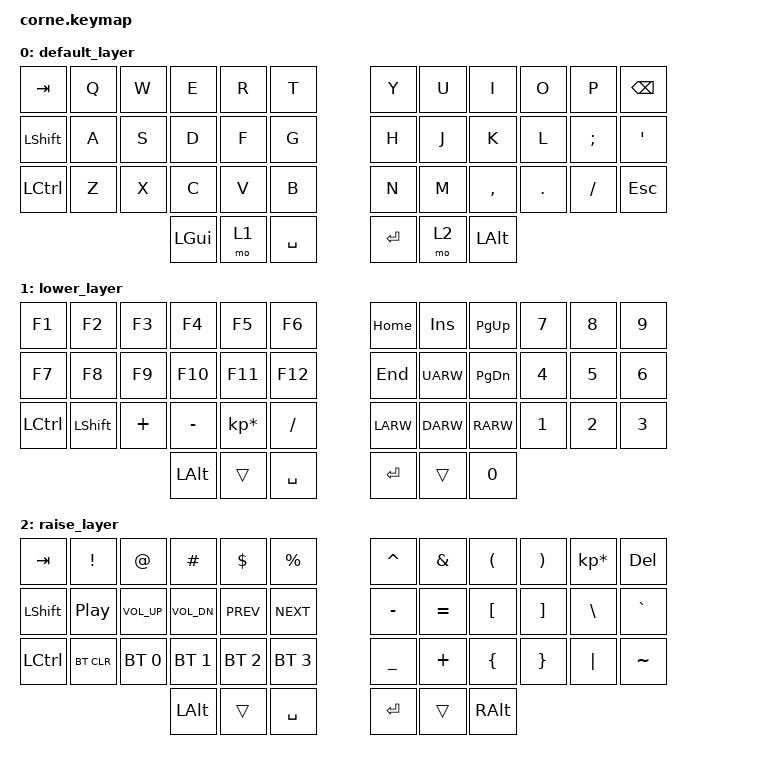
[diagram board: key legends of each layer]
/*
 * Copyright (c) 2020 The ZMK Contributors
 *
 * SPDX-License-Identifier: MIT
 */

#include <behaviors.dtsi>
#include <dt-bindings/zmk/keys.h>
#include <dt-bindings/zmk/bt.h>

/ {

        keymap {
                compatible = "zmk,keymap";
                default_layer {
                        bindings = <
                        //╭──────────┬──────────┬──────────┬──────────┬──────────┬──────────╮   ╭──────────┬──────────┬──────────┬──────────┬──────────┬──────────╮
                        //│  TAB     │  Q       │  W       │  E       │  R       │  T       │   │  Y       │  U       │  I       │  O       │  P       │  BKSP    │
                           &kp TAB    &kp Q      &kp W      &kp E      &kp R      &kp T          &kp Y      &kp U      &kp I      &kp O      &kp P      &kp BSPC
                        //├──────────┼──────────┼──────────┼──────────┼──────────┼──────────┤   ├──────────┼──────────┼──────────┼──────────┼──────────┼──────────┤
                        //│  SHFT    │  A       │  S       │  D       │  F       │  G       │   │  H       │  J       │  K       │  L       │  ;       │ ' "      │
                           &kp LSHFT   &kp A       &kp S      &kp D      &kp F     &kp G          &kp H      &kp J      &kp K       &kp L    &kp SEMI     &kp SQT
                        //├──────────┼──────────┼──────────┼──────────┼──────────┼──────────┤   ├──────────┼──────────┼──────────┼──────────┼──────────┼──────────┤
                        //│  CTRL    │  X       │  X       │  C       │  V       │  B       │   │  N       │  M       │ , <      │ . >      │ /        │ ESC      │
                           &kp LCTRL   &kp Z      &kp X      &kp C      &kp V      &kp B          &kp N      &kp M      &kp COMMA  &kp DOT    &kp FSLH    &kp ESC
                        //╰──────────┴──────────┴──────────┴──────────┼──────────┼──────────┤   ├──────────┼──────────┼──────────┴──────────┴──────────┴──────────╯
                                                            &kp LGUI    &mo 1     &kp SPACE      &kp ENTER   &mo 2     &kp LALT
                        //                                 ╰──────────┴──────────┴──────────╯   ╰──────────┴──────────┴──────────╯
                        >;
                };

                lower_layer {
                        bindings = <
                        //╭──────────┬──────────┬──────────┬──────────┬──────────┬──────────╮   ╭──────────┬──────────┬──────────┬──────────┬──────────┬──────────╮
                        //│  F1      │  F2      │  F3      │  F4      │  F5      │  F6      │   │  HOME    │ INSERT   │ PAGE UP  │  7       │  8       │ 9        │
                            &kp F1     &kp F2     &kp F3     &kp F4      &kp F5    &kp F6         &kp HOME   &kp INS    &kp PG_UP  &kp N7      &kp N8     &kp N9
                        //├──────────┼──────────┼──────────┼──────────┼──────────┼──────────┤   ├──────────┼──────────┼──────────┼──────────┼──────────┼──────────┤
                        //│  F7      │  F8      │  F9      │  F10     │  F11     │  F12     │   │  END     │  UP      │  PAGE DN │  4       │  5       │ 6        │
                             &kp F7    &kp F8     &kp F9      &kp F10    &kp F11     &kp F12       &kp END   &kp UARW    &kp PG_DN   &kp N4    &kp N5     &kp N6
                        //├──────────┼──────────┼──────────┼──────────┼──────────┼──────────┤   ├──────────┼──────────┼──────────┼──────────┼──────────┼──────────┤
                        //│  CTRL    │  SHFT    │  +       │   -      │  *       │   /      │   │  LEFT    │  DOWN    │ RIGHT    │ 1        │ 2        │ 3        │
                            &kp LCTRL  &kp LSHFT   &kp PLUS   &kp MINUS  &kp KP_MULTIPLY  &kp FSLH      &kp LARW   &kp DARW   &kp RARW   &kp N1     &kp N2     &kp N3
                        //╰──────────┴──────────┴──────────┴──────────┼──────────┼──────────┤   ├──────────┼──────────┼──────────┴──────────┴──────────┴──────────╯
                                                            &kp LALT    &trans     &kp SPACE      &kp ENTER   &trans     &kp N0
                        //                                 ╰──────────┴──────────┴──────────╯   ╰──────────┴──────────┴──────────╯
                        >;
                };
 
                raise_layer {
                        bindings = <
                        //╭──────────┬──────────┬──────────┬──────────┬──────────┬──────────╮   ╭──────────┬──────────┬──────────┬──────────┬──────────┬──────────╮
                        //│  TAB     │  !       │  @       │  #       │  $       │  %       │   │  ^       │  &       │ (        │   )      │  *       │  DEL     │
                            &kp TAB   &kp EXCL   &kp AT     &kp HASH   &kp DLLR    &kp PRCNT     &kp CARET  &kp AMPS  &kp LPAR  &kp RPAR  &kp KP_MULTIPLY  &kp DEL
                        //├──────────┼──────────┼──────────┼──────────┼──────────┼──────────┤   ├──────────┼──────────┼──────────┼──────────┼──────────┼──────────┤
                        //│  SHFT    │  Play    │  Vol     │  Vol     │  Prev    │  Next    │   │  -       │  =       │  [       │  ]       │  \       │ `        │
                        &kp LSHFT   &kp C_PP  &kp C_VOL_UP  &kp C_VOL_DN  &kp C_PREV  &kp C_NEXT    &kp MINUS   &kp EQUAL  &kp LBKT   &kp RBKT  &kp BSLH    &kp GRAVE
                        //├──────────┼──────────┼──────────┼──────────┼──────────┼──────────┤   ├──────────┼──────────┼──────────┼──────────┼──────────┼──────────┤
                        //│  CTRL    │          │  BT_CLR  │  BT1     │  BT2      │  BT3    │   │  _       │  +       │   {      │   }      │   "|"    │   ~      │
                        &kp LCTRL   &bt BT_CLR  &bt BT_SEL 0  &bt BT_SEL 1  &bt BT_SEL 2  &bt BT_SEL 3  &kp UNDER  &kp PLUS  &kp LBRC  &kp RBRC  &kp PIPE   &kp TILDE
                        //╰──────────┴──────────┴──────────┴──────────┼──────────┼──────────┤   ├──────────┼──────────┼──────────┴──────────┴──────────┴──────────╯
                                                            &kp LALT    &trans     &kp SPACE      &kp ENTER   &trans     &kp RALT
                        //                                 ╰──────────┴──────────┴──────────╯   ╰──────────┴──────────┴──────────╯
                        >;
                };

   
        };
};
